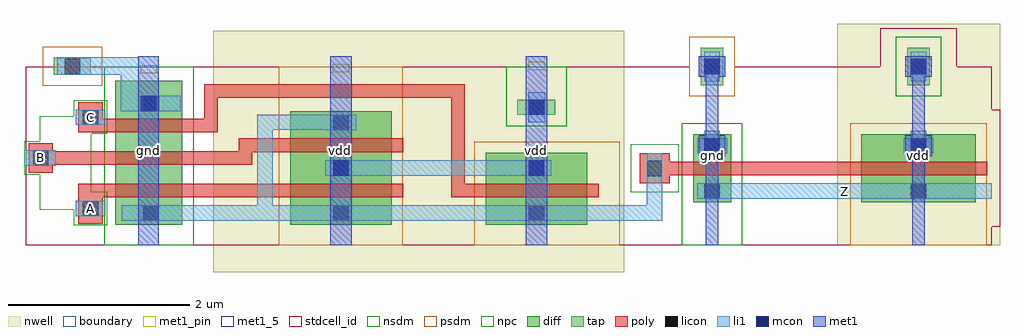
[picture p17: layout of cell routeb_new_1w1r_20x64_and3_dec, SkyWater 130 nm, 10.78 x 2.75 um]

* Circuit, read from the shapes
.subckt routeb_new_1w1r_20x64_and3_dec A B C Z gnd vdd
XM1 n1 A routeb_new_1w1r_20x64_pinv_dec_1/A gnd sky130_fd_pr__nfet_01v8 w=0.74 l=0.15
XM2 n2 B n1 gnd sky130_fd_pr__nfet_01v8 w=0.74 l=0.15
XM3 gnd C n2 gnd sky130_fd_pr__nfet_01v8 w=0.74 l=0.15
XM4 gnd routeb_new_1w1r_20x64_pinv_dec_1/A Z gnd sky130_fd_pr__nfet_01v8 w=0.42 l=0.15
XM5 vdd A routeb_new_1w1r_20x64_pinv_dec_1/A vdd sky130_fd_pr__pfet_01v8 w=1.12 l=0.15
XM6 routeb_new_1w1r_20x64_pinv_dec_1/A B vdd vdd sky130_fd_pr__pfet_01v8 w=1.12 l=0.15
XM7 vdd C routeb_new_1w1r_20x64_pinv_dec_1/A vdd sky130_fd_pr__pfet_01v8 w=1.12 l=0.15
XM8 vdd routeb_new_1w1r_20x64_pinv_dec_1/A Z vdd sky130_fd_pr__pfet_01v8 w=1.26 l=0.15
.ends

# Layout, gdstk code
from math import pi, radians
import gdstk
lib = gdstk.Library(unit=1e-6, precision=1e-09)
def R(c, l, rs):  # rectangles x0, y0, x1, y1
    for r in rs: c.add(gdstk.rectangle(r[:2], r[2:], *l))
def A(c, l, x, y, w, h, nx, ny, dx, dy):  # array of equal rectangles
    R(c, l, [(x+i*dx, y+j*dy, x+i*dx+w, y+j*dy+h) for i in range(nx) for j in range(ny)])
nwell = (64, 20)
diff = (65, 20)
tap = (65, 44)
poly = (66, 20)
licon = (66, 44)
li1 = (67, 20)
mcon = (67, 44)
met1_5 = (68, 5)
met1_pin = (68, 16)
met1 = (68, 20)
stdcell_id = (81, 4)
nsdm = (93, 44)
psdm = (94, 20)
npc = (95, 20)
boundary = (235, 4)

sky130_fd_bd_sram__openr = lib.new_cell('sky130_fd_bd_sram__openram_dp_nand3_dec')
R(sky130_fd_bd_sram__openr, nwell, [(2.07,-0.3,6.61,2.37)])
R(sky130_fd_bd_sram__openr, diff, [(0.99,0.23,1.73,1.82), (2.92,0.23,4.04,1.48), (5.08,0.23,6.2,1.02)])
R(sky130_fd_bd_sram__openr, tap, [(5.43,1.44,5.85,1.61), (0.31,1.885,0.72,2.07)])
R(sky130_fd_bd_sram__openr, poly, [(0.58,0.24,0.85,0.53), (0.58,0.53,4.17,0.68), (4.7,0.53,6.33,0.68), (4.7,0.68,4.85,1.63), (0.03,0.8,0.3,0.89), (0.03,0.89,2.5,1.03), (0.03,1.03,4.17,1.04), (0.03,1.04,0.3,1.13), (2.35,1.04,4.17,1.18), (0.58,1.25,2.12,1.4), (0.58,1.4,0.85,1.58), (1.97,1.4,2.12,1.63), (1.97,1.63,4.85,1.78)])
A(sky130_fd_bd_sram__openr, licon, 3.395, 0.27, 0.17, 0.17, 1, 3, 0, 0.5)
R(sky130_fd_bd_sram__openr, licon, [(1.295,0.27,1.465,0.44), (5.555,0.27,5.725,0.44), (0.63,0.32,0.8,0.49), (5.555,0.77,5.725,0.94), (0.08,0.88,0.25,1.05), (0.63,1.33,0.8,1.5), (5.55,1.44,5.72,1.61), (1.305,1.48,1.475,1.65), (0.43,1.89,0.6,2.06)])
R(sky130_fd_bd_sram__openr, li1, [(1.06,0.27,6.61,0.44), (1.06,0.27,6.61,0.44), (0.55,0.32,0.88,0.49), (0.55,0.32,0.88,0.49), (2.555,0.44,2.725,1.275), (3.31,0.77,5.805,0.94), (0,0.88,0.33,1.05), (0,0.88,0.33,1.05), (3.31,1.27,3.65,1.275), (2.555,1.275,3.65,1.44), (0.55,1.33,0.88,1.5), (0.55,1.33,0.88,1.5), (5.55,1.36,5.74,1.69), (2.555,1.44,3.435,1.445), (1.05,1.48,1.71,1.65), (1.05,1.65,1.25,1.885), (0.35,1.885,1.25,2.075)])
R(sky130_fd_bd_sram__openr, mcon, [(3.395,0.77,3.565,0.94), (5.555,0.77,5.725,0.94), (5.555,1.44,5.725,1.61), (1.27,1.48,1.44,1.65)])
R(sky130_fd_bd_sram__openr, met1_5, [(1.24,0,1.47,2.09), (3.36,0,3.6,2.09), (5.52,0,5.76,2.09)])
R(sky130_fd_bd_sram__openr, met1_pin, [(1.27,1.9,1.45,1.99), (3.39,1.91,3.57,2), (5.55,1.94,5.73,2.03)])
R(sky130_fd_bd_sram__openr, met1, [(1.24,0,1.47,2.09), (1.24,0,1.47,2.09), (3.36,0,3.6,2.09), (3.36,0,3.6,2.09), (5.52,0,5.76,2.09), (5.52,0,5.76,2.09)])
R(sky130_fd_bd_sram__openr, nsdm, [(0.865,0,1.855,1.975), (5.305,1.315,5.975,1.975)])
R(sky130_fd_bd_sram__openr, psdm, [(2.795,0,4.165,1.975), (4.955,0,6.56,1.145), (0.185,1.76,0.845,2.195)])
R(sky130_fd_bd_sram__openr, npc, [(0.53,0.22,0.9,0.395), (0.155,0.395,0.9,0.59), (0.155,0.59,0.725,0.78), (-0.02,0.78,0.725,1.15), (0.155,1.15,0.725,1.23), (0.155,1.23,0.9,1.425), (0.53,1.425,0.9,1.6)])
R(sky130_fd_bd_sram__openr, boundary, [(0,0,6.56,1.975)])
sky130_fd_bd_sram__openr.add(gdstk.Label('VDD', (3.48,1.955), layer=68, texttype=16))
sky130_fd_bd_sram__openr.add(gdstk.Label('VDD', (5.64,1.985), layer=68, texttype=16))
sky130_fd_bd_sram__openr.add(gdstk.Label('GND', (1.36,1.945), layer=68, texttype=16))
sky130_fd_bd_sram__openr.add(gdstk.Label('C', (0.7,1.42), layer=67, texttype=16))
sky130_fd_bd_sram__openr.add(gdstk.Label('Z', (6.47,0.355), layer=67, texttype=16))
sky130_fd_bd_sram__openr.add(gdstk.Label('B', (0.15,0.98), layer=67, texttype=16))
sky130_fd_bd_sram__openr.add(gdstk.Label('A', (0.7,0.42), layer=67, texttype=16))
sky130_fd_bd_sram__openr.add(gdstk.Label('A', (0.715,0.405), layer=67, texttype=5))
sky130_fd_bd_sram__openr.add(gdstk.Label('B', (0.165,0.965), layer=67, texttype=5))
sky130_fd_bd_sram__openr.add(gdstk.Label('C', (0.715,1.415), layer=67, texttype=5))
sky130_fd_bd_sram__openr.add(gdstk.Label('Z', (3.835,0.355), layer=67, texttype=5))
sky130_fd_bd_sram__openr.add(gdstk.Label('vdd', (3.48,1.045), layer=68, texttype=5))
sky130_fd_bd_sram__openr.add(gdstk.Label('vdd', (5.64,1.045), layer=68, texttype=5))
sky130_fd_bd_sram__openr.add(gdstk.Label('gnd', (1.355,1.045), layer=68, texttype=5))

routeb_new_1w1r_20x64_co = lib.new_cell('routeb_new_1w1r_20x64_contact_11')
R(routeb_new_1w1r_20x64_co, nwell, [(-0.295,-0.255,0.545,0.585)])
R(routeb_new_1w1r_20x64_co, diff, [(0,0.02,0.25,0.31)])
R(routeb_new_1w1r_20x64_co, licon, [(0.04,0.08,0.21,0.25)])
R(routeb_new_1w1r_20x64_co, li1, [(0.04,0,0.21,0.33)])
R(routeb_new_1w1r_20x64_co, stdcell_id, [(-0.295,-0.255,0.545,0.585)])
R(routeb_new_1w1r_20x64_co, psdm, [(-0.125,-0.105,0.375,0.435)])
R(routeb_new_1w1r_20x64_co, boundary, [(-0.295,-0.255,0.545,0.585)])

routeb_new_1w1r_20x64_pm = lib.new_cell('routeb_new_1w1r_20x64_pmos_m1_w1_260_sli_dli_da_p')
R(routeb_new_1w1r_20x64_pm, nwell, [(-0.27,-0.27,1.02,1.53)])
R(routeb_new_1w1r_20x64_pm, diff, [(0,0,0.75,1.26)])
R(routeb_new_1w1r_20x64_pm, poly, [(0.3,-0.13,0.45,1.39), (0.3,-0.13,0.45,1.39)])
R(routeb_new_1w1r_20x64_pm, li1, [(0.04,0.465,0.21,0.795), (0.54,0.465,0.71,0.795)])
R(routeb_new_1w1r_20x64_pm, stdcell_id, [(-0.27,-0.27,1.02,1.53)])
R(routeb_new_1w1r_20x64_pm, psdm, [(-0.125,-0.125,0.875,1.385)])
R(routeb_new_1w1r_20x64_pm, boundary, [(-0.27,-0.27,1.02,1.53)])
routeb_new_1w1r_20x64_pm.add(gdstk.Reference(routeb_new_1w1r_20x64_co, (0,0.465)))
routeb_new_1w1r_20x64_pm.add(gdstk.Reference(routeb_new_1w1r_20x64_co, (0.5,0.465)))
routeb_new_1w1r_20x64_pm.add(gdstk.Label('G', (0.375,0.63), layer=66, texttype=5))
routeb_new_1w1r_20x64_pm.add(gdstk.Label('S', (0.125,0.63), layer=67, texttype=5))
routeb_new_1w1r_20x64_pm.add(gdstk.Label('D', (0.625,0.63), layer=67, texttype=5))

c_routeb_new_1w1r_20x64_co = lib.new_cell('routeb_new_1w1r_20x64_contact_10')
R(c_routeb_new_1w1r_20x64_co, diff, [(0,0.02,0.25,0.31)])
R(c_routeb_new_1w1r_20x64_co, licon, [(0.04,0.08,0.21,0.25)])
R(c_routeb_new_1w1r_20x64_co, li1, [(0.04,0,0.21,0.33)])
R(c_routeb_new_1w1r_20x64_co, stdcell_id, [(-0.125,-0.105,0.375,0.435)])
R(c_routeb_new_1w1r_20x64_co, nsdm, [(-0.125,-0.105,0.375,0.435)])
R(c_routeb_new_1w1r_20x64_co, boundary, [(-0.125,-0.105,0.375,0.435)])

routeb_new_1w1r_20x64_nm = lib.new_cell('routeb_new_1w1r_20x64_nmos_m1_w0_420_sli_dli_da_p')
R(routeb_new_1w1r_20x64_nm, diff, [(0,0,0.75,0.42)])
R(routeb_new_1w1r_20x64_nm, poly, [(0.3,-0.13,0.45,0.55), (0.3,-0.13,0.45,0.55)])
R(routeb_new_1w1r_20x64_nm, li1, [(0.04,0.045,0.21,0.375), (0.54,0.045,0.71,0.375)])
R(routeb_new_1w1r_20x64_nm, stdcell_id, [(-0.125,-0.13,0.875,0.55)])
R(routeb_new_1w1r_20x64_nm, nsdm, [(-0.125,-0.125,0.875,0.545)])
R(routeb_new_1w1r_20x64_nm, boundary, [(-0.125,-0.13,0.875,0.55)])
routeb_new_1w1r_20x64_nm.add(gdstk.Reference(c_routeb_new_1w1r_20x64_co, (0,0.045)))
routeb_new_1w1r_20x64_nm.add(gdstk.Reference(c_routeb_new_1w1r_20x64_co, (0.5,0.045)))
routeb_new_1w1r_20x64_nm.add(gdstk.Label('G', (0.375,0.21), layer=66, texttype=5))
routeb_new_1w1r_20x64_nm.add(gdstk.Label('S', (0.125,0.21), layer=67, texttype=5))
routeb_new_1w1r_20x64_nm.add(gdstk.Label('D', (0.625,0.21), layer=67, texttype=5))

c_routeb_new_1w1r_20x64_co_ = lib.new_cell('routeb_new_1w1r_20x64_contact_12')
R(c_routeb_new_1w1r_20x64_co_, nwell, [(-0.295,-0.215,0.545,0.625)])
R(c_routeb_new_1w1r_20x64_co_, tap, [(0,0,0.25,0.41)])
R(c_routeb_new_1w1r_20x64_co_, licon, [(0.04,0.12,0.21,0.29)])
R(c_routeb_new_1w1r_20x64_co_, li1, [(0.04,0.04,0.21,0.37)])
R(c_routeb_new_1w1r_20x64_co_, stdcell_id, [(-0.295,-0.215,0.545,0.625)])
R(c_routeb_new_1w1r_20x64_co_, nsdm, [(-0.125,-0.125,0.375,0.535)])
R(c_routeb_new_1w1r_20x64_co_, boundary, [(-0.295,-0.215,0.545,0.625)])

c_routeb_new_1w1r_20x64_co__ = lib.new_cell('routeb_new_1w1r_20x64_contact_13')
R(c_routeb_new_1w1r_20x64_co__, li1, [(0.06,0,0.23,0.33)])
R(c_routeb_new_1w1r_20x64_co__, mcon, [(0.06,0.08,0.23,0.25)])
R(c_routeb_new_1w1r_20x64_co__, met1, [(0,0.05,0.29,0.28)])
R(c_routeb_new_1w1r_20x64_co__, stdcell_id, [(0,0,0.29,0.33)])
R(c_routeb_new_1w1r_20x64_co__, boundary, [(0,0,0.29,0.33)])

c_routeb_new_1w1r_20x64_co___ = lib.new_cell('routeb_new_1w1r_20x64_contact_14')
R(c_routeb_new_1w1r_20x64_co___, tap, [(0,0,0.25,0.41)])
R(c_routeb_new_1w1r_20x64_co___, licon, [(0.04,0.12,0.21,0.29)])
R(c_routeb_new_1w1r_20x64_co___, li1, [(0.04,0.04,0.21,0.37)])
R(c_routeb_new_1w1r_20x64_co___, stdcell_id, [(-0.125,-0.125,0.375,0.535)])
R(c_routeb_new_1w1r_20x64_co___, psdm, [(-0.125,-0.125,0.375,0.535)])
R(c_routeb_new_1w1r_20x64_co___, boundary, [(-0.125,-0.125,0.375,0.535)])

c_routeb_new_1w1r_20x64_co____ = lib.new_cell('routeb_new_1w1r_20x64_contact_15')
R(c_routeb_new_1w1r_20x64_co____, poly, [(0,0,0.33,0.33)])
R(c_routeb_new_1w1r_20x64_co____, licon, [(0.08,0.08,0.25,0.25)])
R(c_routeb_new_1w1r_20x64_co____, li1, [(0.08,0,0.25,0.33)])
R(c_routeb_new_1w1r_20x64_co____, stdcell_id, [(-0.1,-0.1,0.43,0.43)])
R(c_routeb_new_1w1r_20x64_co____, npc, [(-0.1,-0.1,0.43,0.43)])
R(c_routeb_new_1w1r_20x64_co____, boundary, [(-0.1,-0.1,0.43,0.43)])

routeb_new_1w1r_20x64_pi = lib.new_cell('routeb_new_1w1r_20x64_pinv_dec')
R(routeb_new_1w1r_20x64_pi, nwell, [(2.4,0,4.2,2.45)])
R(routeb_new_1w1r_20x64_pi, poly, [(0.385,0.775,0.68,0.925), (1.36,0.775,2.54,0.925)])
R(routeb_new_1w1r_20x64_pi, li1, [(0.855,0.515,4.11,0.685), (0.3,0.685,0.47,1.015)])
R(routeb_new_1w1r_20x64_pi, met1_5, [(0.95,0,1.09,1.975), (3.23,0,3.37,1.975)])
R(routeb_new_1w1r_20x64_pi, met1, [(0.95,0,1.09,1.975), (3.23,0,3.37,1.975)])
R(routeb_new_1w1r_20x64_pi, stdcell_id, [(0,0,4.11,1.975), (0,0,4.11,1.975)])
R(routeb_new_1w1r_20x64_pi, nsdm, [(0.685,0,1.355,1.225)])
R(routeb_new_1w1r_20x64_pi, psdm, [(2.545,0,4.055,1.225)])
R(routeb_new_1w1r_20x64_pi, boundary, [(0,0,4.11,1.975), (0,0,4.11,1.975)])
routeb_new_1w1r_20x64_pi.add(gdstk.Reference(routeb_new_1w1r_20x64_pm, (2.67,1.225), rotation=3*pi/2))
routeb_new_1w1r_20x64_pi.add(gdstk.Reference(routeb_new_1w1r_20x64_nm, (0.81,1.225), rotation=3*pi/2))
routeb_new_1w1r_20x64_pi.add(gdstk.Reference(c_routeb_new_1w1r_20x64_co_, (3.175,1.77)))
routeb_new_1w1r_20x64_pi.add(gdstk.Reference(c_routeb_new_1w1r_20x64_co__, (3.155,1.81)))
routeb_new_1w1r_20x64_pi.add(gdstk.Reference(c_routeb_new_1w1r_20x64_co___, (0.895,1.77)))
routeb_new_1w1r_20x64_pi.add(gdstk.Reference(c_routeb_new_1w1r_20x64_co__, (0.875,1.81)))
routeb_new_1w1r_20x64_pi.add(gdstk.Reference(c_routeb_new_1w1r_20x64_co____, (0.22,0.685)))
routeb_new_1w1r_20x64_pi.add(gdstk.Reference(c_routeb_new_1w1r_20x64_co__, (0.875,0.935)))
routeb_new_1w1r_20x64_pi.add(gdstk.Reference(c_routeb_new_1w1r_20x64_co__, (3.155,0.935)))
routeb_new_1w1r_20x64_pi.add(gdstk.Label('A', (0.385,0.85), layer=67, texttype=5))
routeb_new_1w1r_20x64_pi.add(gdstk.Label('Z', (2.482,0.6), layer=67, texttype=5))
routeb_new_1w1r_20x64_pi.add(gdstk.Label('gnd', (1.02,0.988), layer=68, texttype=5))
routeb_new_1w1r_20x64_pi.add(gdstk.Label('vdd', (3.3,0.988), layer=68, texttype=5))

routeb_new_1w1r_20x64_an = lib.new_cell('routeb_new_1w1r_20x64_and3_dec')
R(routeb_new_1w1r_20x64_an, li1, [(3.835,0.27,6.945,0.44), (6.86,0.27,7.03,0.44), (0.55,0.32,0.88,0.49), (6.86,0.355,7.03,0.85), (7.415,0.515,10.67,0.685), (0,0.88,0.33,1.05), (0.55,1.33,0.88,1.5)])
R(routeb_new_1w1r_20x64_an, met1_5, [(1.24,0,1.47,2.09), (3.36,0,3.6,2.09), (5.52,0,5.76,2.09), (7.51,0,7.65,1.975), (9.79,0,9.93,1.975)])
R(routeb_new_1w1r_20x64_an, met1, [(1.24,0,1.47,2.09), (3.36,0,3.6,2.09), (5.52,0,5.76,2.09), (7.51,0,7.65,1.975), (9.79,0,9.93,1.975)])
R(routeb_new_1w1r_20x64_an, stdcell_id, [(0,0,10.67,1.975)])
R(routeb_new_1w1r_20x64_an, boundary, [(0,0,10.67,1.975)])
routeb_new_1w1r_20x64_an.add(gdstk.Reference(sky130_fd_bd_sram__openr, (0,0)))
routeb_new_1w1r_20x64_an.add(gdstk.Reference(routeb_new_1w1r_20x64_pi, (6.56,0)))
routeb_new_1w1r_20x64_an.add(gdstk.Label('Z', (9.042,0.6), layer=67, texttype=5))
routeb_new_1w1r_20x64_an.add(gdstk.Label('A', (0.715,0.405), layer=67, texttype=5))
routeb_new_1w1r_20x64_an.add(gdstk.Label('B', (0.165,0.965), layer=67, texttype=5))
routeb_new_1w1r_20x64_an.add(gdstk.Label('C', (0.715,1.415), layer=67, texttype=5))
routeb_new_1w1r_20x64_an.add(gdstk.Label('vdd', (5.64,1.045), layer=68, texttype=5))
routeb_new_1w1r_20x64_an.add(gdstk.Label('vdd', (3.48,1.045), layer=68, texttype=5))
routeb_new_1w1r_20x64_an.add(gdstk.Label('vdd', (9.86,0.988), layer=68, texttype=5))
routeb_new_1w1r_20x64_an.add(gdstk.Label('gnd', (1.355,1.045), layer=68, texttype=5))
routeb_new_1w1r_20x64_an.add(gdstk.Label('gnd', (7.58,0.988), layer=68, texttype=5))

lib.write_gds('routeb_new_1w1r_20x64_and3_dec.gds')
